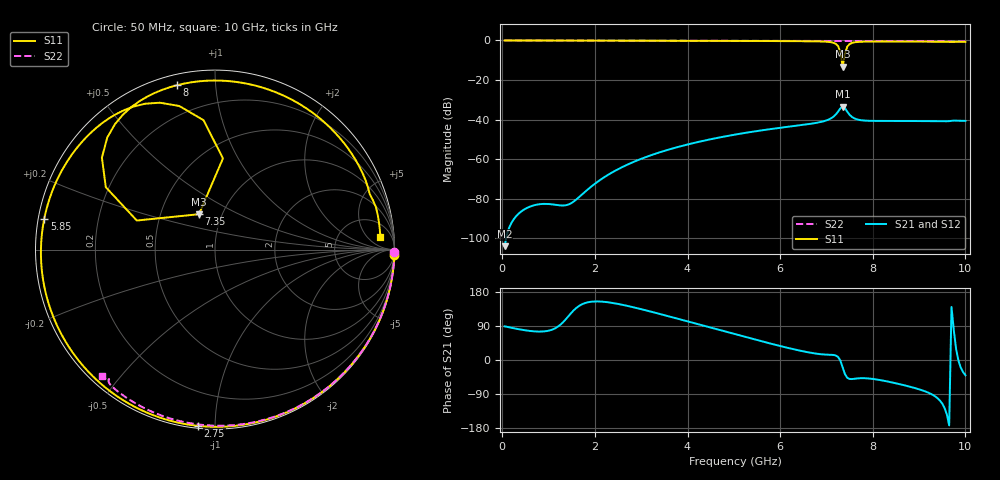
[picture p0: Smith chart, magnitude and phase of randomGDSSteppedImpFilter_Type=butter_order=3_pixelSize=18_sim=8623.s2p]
! freq	dB(S11)	phase(S11)	dB(S12)	phase(S12)
!  dB(S21)	phase(S21)	dB(S22)	phase(S22)
!S-par simulation data
#  GHz  S  DB  R 50
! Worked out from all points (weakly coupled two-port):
!   200 points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, 50 MHz to 10 GHz, reference 50 ohm
!   highest |S21| = -33.37 dB at 7.35 GHz (marker M1); lowest = -103.9 dB at 50 MHz (marker M2)
!   lowest |S11| = -13.3 dB at 7.35 GHz (marker M3), VSWR 1.55, Z = 38.9 + j16.1 ohm
!   |S11| at or under -10 dB: 7.328 GHz to 7.375 GHz (46.92 MHz wide, 0.638 % of centre)
!   |S22| runs from -0.6 to 0.0 dB; largest |S21 - S12| = 0
!   S11 on the Smith chart (normalised r, x): 50 MHz: 1, -61; 2.75 GHz: 0.01, -0.91; 5.85 GHz: 0.02, +0.09; 7.35 GHz: 0.78, +0.32; 8 GHz: 0.05, +0.80; 10 GHz: 14, +13
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0.05  -0.00 -1.9  -103.89 88.9  -103.89 88.9  -0.00 -0.8
0.75  -0.03 -27.5  -82.90 75.1  -82.90 75.1  -0.01 -11.4
1.6  -0.07 -57.6  -80.27 137.5  -80.27 137.5  -0.03 -24.1
1.75  -0.08 -62.7  -77.19 148.6  -77.19 148.6  -0.03 -26.4
2.75  -0.12 -95.5  -62.20 141.5  -62.20 141.5  -0.05 -41.0
3.4  -0.14 -115.7  -56.49 121.6  -56.49 121.6  -0.07 -50.2
4.25  -0.18 -141.2  -51.15 93.7  -51.15 93.7  -0.09 -62.0
5.05  -0.23 -165.2  -47.44 67.2  -47.44 67.2  -0.11 -72.6
5.85  -0.29 169.8  -44.57 41.5  -44.57 41.5  -0.14 -83.0
6.7  -0.43 138.8  -41.93 18.2  -41.93 18.2  -0.18 -93.6
7  -0.65 123.3  -40.36 14.2  -40.36 14.2  -0.20 -97.3
7.2  -1.68 104.0  -37.42 12.0  -37.42 12.0  -0.21 -99.7
7.3  -5.85 85.0  -34.31 -1.4  -34.31 -1.4  -0.22 -100.9
7.35  -13.29 114.4  -33.37 -19.2  -33.37 -19.2  -0.22 -101.5
7.4  -6.65 159.6  -34.26 -37.5  -34.26 -37.5  -0.22 -102.1
7.45  -3.09 150.2  -36.02 -47.2  -36.02 -47.2  -0.22 -102.7
7.5  -1.81 140.9  -37.55 -50.1  -37.55 -50.1  -0.23 -103.3
7.7  -0.71 120.3  -40.09 -48.2  -40.09 -48.2  -0.24 -105.7
8  -0.54 102.9  -40.62 -49.9  -40.62 -49.9  -0.26 -109.2
8.35  -0.52 85.9  -40.64 -57.5  -40.64 -57.5  -0.29 -113.3
9.1  -0.58 49.6  -40.74 -81.4  -40.74 -81.4  -0.35 -122.1
10  -0.69 4.2  -40.61 -40.1  -40.61 -40.1  -0.48 -131.8
